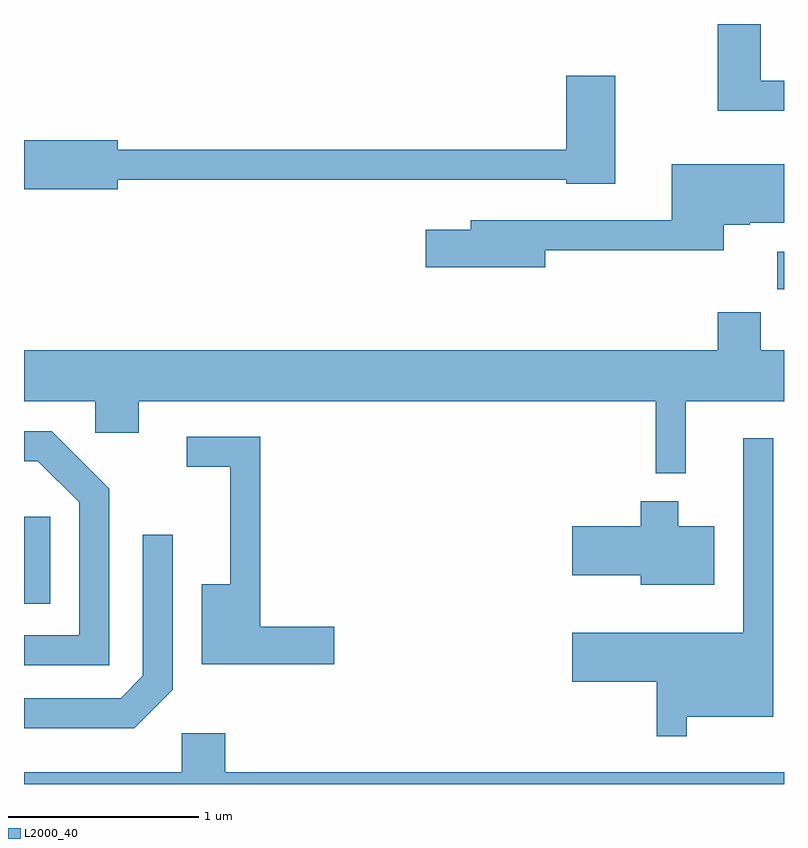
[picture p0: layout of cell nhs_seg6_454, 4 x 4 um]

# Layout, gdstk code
import gdstk
lib = gdstk.Library(unit=1e-6, precision=1e-09)
def R(c, l, rs):  # rectangles x0, y0, x1, y1
    for r in rs: c.add(gdstk.rectangle(r[:2], r[2:], *l))
def P(c, l, *ps):  # polygons
    for p in ps: c.add(gdstk.Polygon(p, *l))
L2000_40 = (2000, 40)

nhs_seg6_454 = lib.new_cell('nhs_seg6_454')
R(nhs_seg6_454, L2000_40, [(197.611,1631.111,197.749,1631.569), (201.576,1632.766,201.611,1632.964)])
P(nhs_seg6_454, L2000_40, [(201.611,1633.864),(201.489,1633.864),(201.489,1634.162),(201.261,1634.162),(201.261,1633.706),(201.611,1633.706)],
  [(198.104,1633.341),(200.466,1633.341),(200.466,1633.321),(200.724,1633.321),(200.724,1633.889),(200.466,1633.889),(200.466,1633.499),(198.104,1633.499),(198.104,1633.549),(197.611,1633.549),(197.611,1633.291),(198.104,1633.291)],
  [(200.354,1632.971),(201.294,1632.971),(201.294,1633.106),(201.43,1633.106),(201.43,1633.116),(201.611,1633.116),(201.611,1633.424),(201.021,1633.424),(201.021,1633.129),(199.961,1633.129),(199.961,1633.079),(199.726,1633.079),(199.726,1632.881),(200.354,1632.881)],
  [(201.094,1632.176),(201.611,1632.176),(201.611,1632.444),(201.489,1632.444),(201.489,1632.644),(201.261,1632.644),(201.261,1632.444),(197.611,1632.444),(197.611,1632.176),(197.986,1632.176),(197.986,1632.011),(198.214,1632.011),(198.214,1632.176),(200.936,1632.176),(200.936,1631.798),(201.094,1631.798)],
  [(198.059,1631.717),(197.757,1632.019),(197.611,1632.019),(197.611,1631.861),(197.684,1631.861),(197.901,1631.644),(197.901,1630.944),(197.611,1630.944),(197.611,1630.786),(198.059,1630.786)],
  [(199.244,1630.989),(198.854,1630.989),(198.854,1631.989),(198.468,1631.989),(198.468,1631.831),(198.696,1631.831),(198.696,1631.214),(198.546,1631.214),(198.546,1630.791),(199.244,1630.791)],
  [(201.099,1630.516),(201.554,1630.516),(201.554,1631.983),(201.396,1631.983),(201.396,1630.959),(200.496,1630.959),(200.496,1630.701),(200.941,1630.701),(200.941,1630.413),(201.099,1630.413)],
  [(201.244,1631.519),(201.054,1631.519),(201.054,1631.649),(200.856,1631.649),(200.856,1631.519),(200.496,1631.519),(200.496,1631.261),(200.856,1631.261),(200.856,1631.211),(201.244,1631.211)],
  [(198.394,1630.659),(198.394,1631.473),(198.236,1631.473),(198.236,1630.732),(198.119,1630.614),(197.611,1630.614),(197.611,1630.456),(198.192,1630.456)],
  [(201.611,1630.224),(198.669,1630.224),(198.669,1630.429),(198.441,1630.429),(198.441,1630.224),(197.611,1630.224),(197.611,1630.162),(201.611,1630.162)])

lib.write_gds('nhs_seg6_454.gds')
